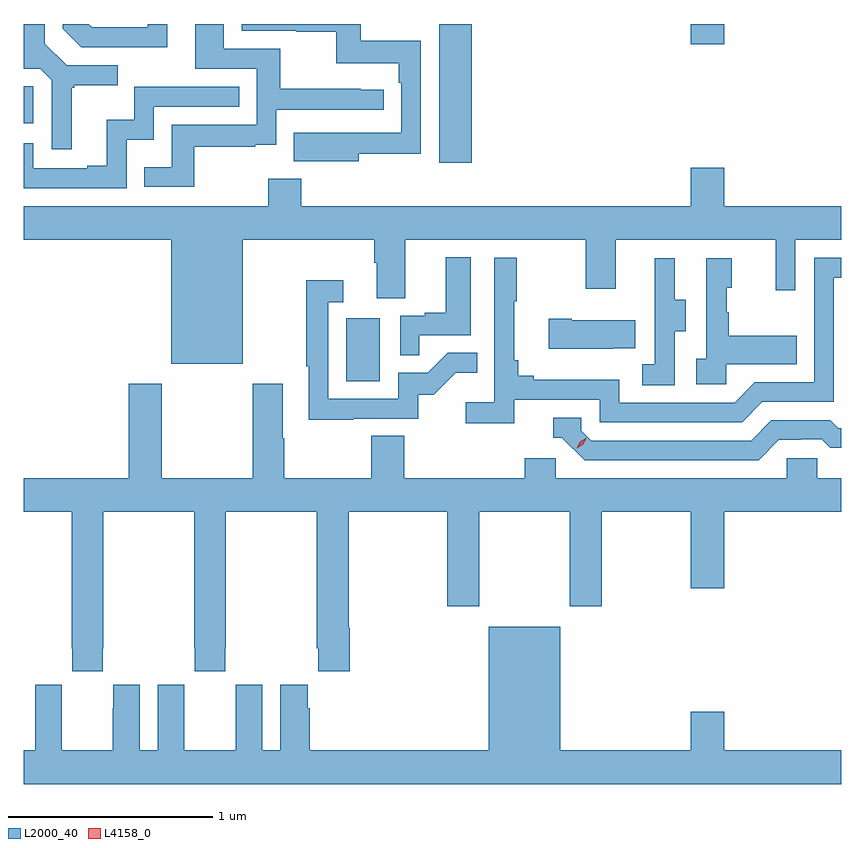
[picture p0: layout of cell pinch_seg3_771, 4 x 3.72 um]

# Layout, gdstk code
import gdstk
lib = gdstk.Library(unit=1e-6, precision=1e-09)
def R(c, l, rs):  # rectangles x0, y0, x1, y1
    for r in rs: c.add(gdstk.rectangle(r[:2], r[2:], *l))
def P(c, l, *ps):  # polygons
    for p in ps: c.add(gdstk.Polygon(p, *l))
L2000_40 = (2000, 40)
L4158_0 = (4158, 0)

pinch_seg3_771 = lib.new_cell('pinch_seg3_771')
R(pinch_seg3_771, L2000_40, [(822.662,733.524,822.826,733.831), (823.115,734.592,823.276,735.272), (821.083,734.787,821.13,734.967), (824.348,735.174,824.512,735.272)])
P(pinch_seg3_771, L2000_40, [(821.317,734.961),(821.329,734.961),(821.329,734.972),(821.542,734.972),(821.542,735.069),(821.292,735.069),(821.185,735.176),(821.185,735.272),(821.083,735.272),(821.083,735.054),(821.163,735.054),(821.22,734.997),(821.22,734.658),(821.317,734.658)],
  [(821.917,734.67),(822.215,734.67),(822.215,734.681),(822.318,734.681),(822.318,734.853),(822.844,734.853),(822.844,734.949),(822.731,734.949),(822.731,734.954),(822.338,734.954),(822.338,735.15),(822.061,735.15),(822.061,735.272),(821.921,735.272),(821.921,735.054),(822.222,735.054),(822.222,734.778),(821.806,734.778),(821.806,734.572),(821.671,734.572),(821.671,734.475),(821.917,734.475)],
  [(821.785,735.272),(821.688,735.272),(821.688,735.255),(821.418,735.255),(821.401,735.272),(821.274,735.272),(821.274,735.249),(821.364,735.159),(821.58,735.159),(821.58,735.158),(821.785,735.158)],
  [(822.721,734.638),(823.026,734.638),(823.026,735.19),(822.733,735.19),(822.733,735.272),(822.15,735.272),(822.15,735.24),(822.415,735.24),(822.415,735.235),(822.612,735.235),(822.612,735.08),(822.917,735.08),(822.917,734.984),(822.93,734.984),(822.93,734.739),(822.617,734.739),(822.617,734.74),(822.403,734.74),(822.403,734.6),(822.721,734.6)],
  [(821.586,734.705),(821.718,734.705),(821.718,734.868),(822.137,734.868),(822.137,734.964),(821.622,734.964),(821.622,734.803),(821.489,734.803),(821.489,734.578),(821.393,734.578),(821.393,734.565),(821.13,734.565),(821.13,734.688),(821.083,734.688),(821.083,734.469),(821.586,734.469)],
  [(822.154,734.216),(822.797,734.216),(822.797,734.104),(822.809,734.104),(822.809,733.93),(822.949,733.93),(822.949,734.216),(823.834,734.216),(823.834,733.977),(823.981,733.977),(823.981,734.216),(824.762,734.216),(824.762,733.968),(824.859,733.968),(824.859,734.216),(825.083,734.216),(825.083,734.38),(824.512,734.38),(824.512,734.569),(824.348,734.569),(824.348,734.38),(822.44,734.38),(822.44,734.515),(822.28,734.515),(822.28,734.38),(821.083,734.38),(821.083,734.216),(821.804,734.216),(821.804,733.61),(822.154,733.61)],
  [(823.019,733.749),(823.27,733.749),(823.27,734.131),(823.148,734.131),(823.148,733.858),(823.045,733.858),(823.045,733.845),(822.924,733.845),(822.924,733.651),(823.019,733.651)],
  [(823.484,733.434),(823.902,733.434),(823.902,733.323),(824.599,733.323),(824.698,733.422),(825.048,733.422),(825.048,734.031),(825.083,734.031),(825.083,734.127),(824.952,734.127),(824.952,733.518),(824.661,733.518),(824.562,733.419),(823.998,733.419),(823.998,733.531),(823.579,733.531),(823.579,733.55),(823.502,733.55),(823.502,733.627),(823.483,733.627),(823.483,733.915),(823.495,733.915),(823.495,734.128),(823.386,734.128),(823.386,733.42),(823.245,733.42),(823.245,733.318),(823.484,733.318)],
  [(824.52,733.607),(824.867,733.607),(824.867,733.747),(824.533,733.747),(824.533,733.862),(824.523,733.862),(824.523,733.98),(824.548,733.98),(824.548,734.125),(824.424,734.125),(824.424,733.634),(824.373,733.634),(824.373,733.509),(824.52,733.509)],
  [(824.268,733.768),(824.323,733.768),(824.323,733.923),(824.269,733.923),(824.269,734.125),(824.171,734.125),(824.171,733.911),(824.172,733.911),(824.172,733.607),(824.109,733.607),(824.109,733.504),(824.268,733.504)],
  [(822.695,733.341),(823.014,733.341),(823.014,733.458),(823.09,733.458),(823.197,733.565),(823.301,733.565),(823.301,733.664),(823.158,733.664),(823.06,733.566),(822.915,733.566),(822.915,733.437),(822.573,733.437),(822.573,733.911),(822.646,733.911),(822.646,734.017),(822.465,734.017),(822.465,733.597),(822.477,733.597),(822.477,733.336),(822.695,733.336)],
  [(823.967,733.685),(824.075,733.685),(824.075,733.822),(823.765,733.822),(823.765,733.83),(823.653,733.83),(823.653,733.682),(823.967,733.682)],
  [(821.469,732.217),(821.472,732.217),(821.472,732.884),(821.917,732.884),(821.917,732.217),(821.919,732.217),(821.919,732.105),(822.069,732.105),(822.069,732.217),(822.072,732.217),(822.072,732.884),(822.517,732.884),(822.517,732.217),(822.523,732.217),(822.523,732.105),(822.677,732.105),(822.677,732.317),(822.672,732.317),(822.672,732.884),(823.156,732.884),(823.156,732.423),(823.311,732.423),(823.311,732.884),(823.756,732.884),(823.756,732.423),(823.911,732.423),(823.911,732.884),(824.348,732.884),(824.348,732.51),(824.512,732.51),(824.512,732.884),(825.083,732.884),(825.083,733.048),(824.967,733.048),(824.967,733.146),(824.817,733.146),(824.817,733.048),(823.686,733.048),(823.686,733.146),(823.535,733.146),(823.535,733.048),(822.944,733.048),(822.944,733.256),(822.784,733.256),(822.784,733.048),(822.357,733.048),(822.357,733.244),(822.349,733.244),(822.349,733.51),(822.202,733.51),(822.202,733.048),(821.757,733.048),(821.757,733.51),(821.597,733.51),(821.597,733.048),(821.083,733.048),(821.083,732.884),(821.317,732.884),(821.317,732.217),(821.319,732.217),(821.319,732.105),(821.469,732.105)],
  [(824.779,733.236),(824.886,733.236),(824.886,733.239),(824.989,733.239),(825.031,733.197),(825.083,733.197),(825.083,733.293),(825.07,733.293),(825.031,733.332),(824.742,733.332),(824.643,733.233),(823.86,733.233),(823.812,733.281),(823.812,733.344),(823.673,733.344),(823.673,733.248),(823.716,733.248),(823.827,733.137),(824.68,733.137)],
  [(825.083,731.716),(824.512,731.716),(824.512,731.905),(824.348,731.905),(824.348,731.716),(823.708,731.716),(823.708,732.322),(823.358,732.322),(823.358,731.716),(822.482,731.716),(822.482,731.924),(822.472,731.924),(822.472,732.037),(822.338,732.037),(822.338,731.716),(822.25,731.716),(822.25,732.037),(822.12,732.037),(822.12,731.924),(822.119,731.924),(822.119,731.716),(821.869,731.716),(821.869,731.924),(821.868,731.924),(821.868,732.037),(821.738,732.037),(821.738,731.716),(821.65,731.716),(821.65,732.037),(821.52,732.037),(821.52,731.924),(821.519,731.924),(821.519,731.716),(821.269,731.716),(821.269,731.924),(821.268,731.924),(821.268,732.037),(821.138,732.037),(821.138,731.716),(821.083,731.716),(821.083,731.552),(825.083,731.552)])
P(pinch_seg3_771, L4158_0, [(823.789,733.195),(823.789,733.195),(823.805,733.228),(823.835,733.247),(823.836,733.247),(823.836,733.247),(823.82,733.214),(823.789,733.195)])

lib.write_gds('pinch_seg3_771.gds')
